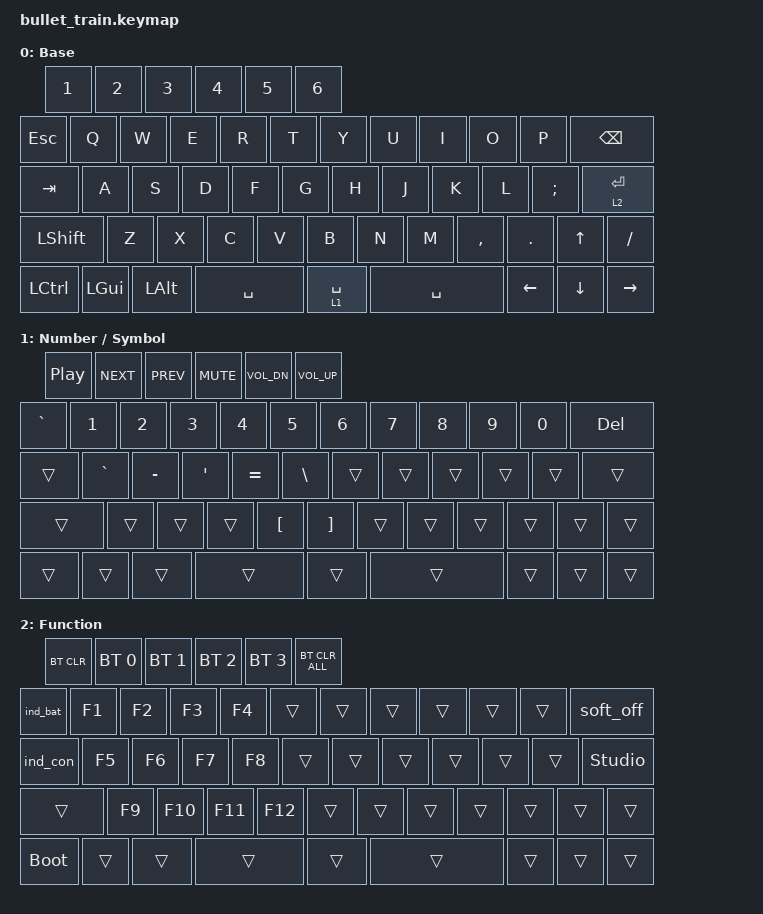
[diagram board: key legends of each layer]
/*
 * Copyright (c) 2025 CannonKeys LLC
 *
 * SPDX-License-Identifier: MIT
 */

#include <behaviors.dtsi>
#include <dt-bindings/zmk/keys.h>
#include <dt-bindings/zmk/bt.h>
#include <behaviors/rgbled_widget.dtsi>

/ {
    keymap {
        compatible = "zmk,keymap";

        default_layer {
            display-name = "Base";
            bindings = <
    &kp N1    &kp N2    &kp N3    &kp N4    &kp N5    &kp N6
    &kp ESC   &kp Q     &kp W     &kp E     &kp R     &kp T     &kp Y     &kp U     &kp I     &kp O     &kp P    &kp BSPC
    &kp TAB   &kp A     &kp S     &kp D     &kp F     &kp G     &kp H     &kp J     &kp K     &kp L     &kp SEMI &lt 2 RET
    &kp LSHFT &kp Z     &kp X     &kp C     &kp V     &kp B     &kp N     &kp M     &kp COMMA &kp DOT   &kp UP   &kp FSLH
    &kp LCTRL &kp LGUI  &kp LALT            &kp SPACE        &lt 1 SPACE  &kp SPACE           &kp LEFT  &kp DOWN &kp RIGHT
                >;
        };

        alternate_layer {
            display-name = "Number / Symbol";
            bindings = <
    &kp C_PP  &kp C_NEXT  &kp C_PREV  &kp C_MUTE  &kp C_VOL_DN  &kp C_VOL_UP 
    &kp GRAVE &kp N1     &kp N2     &kp N3   &kp N4     &kp N5    &kp N6  &kp N7    &kp N8    &kp N9    &kp N0   &kp DEL
    &trans    &kp GRAVE  &kp MINUS  &kp APOS &kp EQUAL  &kp BSLH  &trans  &trans    &trans    &trans    &trans   &trans
    &trans    &trans     &trans     &trans   &kp LBKT   &kp RBKT  &trans  &trans    &trans    &trans    &trans   &trans
    &trans    &trans     &trans              &trans               &trans  &trans              &trans    &trans   &trans
                >;
        };

        function_layer {
            display-name = "Function";
            bindings = <
        &bt BT_CLR    &bt BT_SEL 0  &bt BT_SEL 1  &bt BT_SEL 2     &bt BT_SEL 3 &bt BT_CLR_ALL
    &ind_bat &kp F1  &kp F2  &kp F3     &kp F4   &trans   &trans     &trans    &trans    &trans    &trans   &soft_off
    &ind_con &kp F5  &kp F6  &kp F7     &kp F8   &trans   &trans     &trans    &trans    &trans    &trans   &studio_unlock
    &trans   &kp F9  &kp F10 &kp F11    &kp F12  &trans   &trans     &trans    &trans    &trans    &trans   &trans
    &bootloader    &trans     &trans    &trans            &trans               &trans    &trans    &trans   &trans
                >;
        };
    };

};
